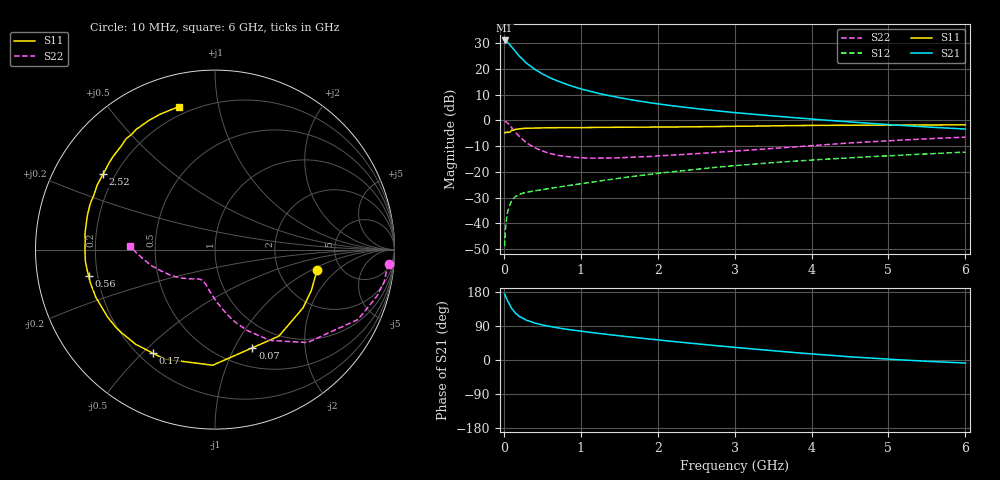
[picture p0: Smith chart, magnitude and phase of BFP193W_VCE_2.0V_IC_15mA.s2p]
! Infineon Technologies  Discrete & RF Semiconductors
! BFP193W
! VCE = 2.0 V,  IC =  15 mA
! Common Emitter S-Parameters:  Jan 2016
# GHz  S  MA  R  50
!  f  S11  S21  S12  S22
! GHz  MAG  ANG  MAG  ANG  MAG  ANG  MAG  ANG
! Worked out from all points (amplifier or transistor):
!   210 points, 10 MHz to 6 GHz, reference 50 ohm
!   highest |S21| = 31.1 dB at 10 MHz (marker M1)
!   |S21| within 3 dB of that: start of sweep to 116.1 MHz
!   unconditionally stable (mu >= 1): 1.031 GHz to 4.236 GHz
!   at 185 MHz: K = 0.28, MSG = 27.3 dB, |S12| = -29.0 dB
!   at 1.52 GHz: K = 1.11, MAG = 13.5 dB, |S12| = -22.4 dB
!   at 6 GHz: K = 0.93, MSG = 4.5 dB, |S12| = -12.3 dB
!   S11 on the Smith chart (normalised r, x): 10 MHz: 3.34, -1.14; 70 MHz: 0.71, -1.18; 170 MHz: 0.26, -0.54; 560 MHz: 0.16, -0.10; 2.52 GHz: 0.15, +0.30; 6 GHz: 0.16, +0.77
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0.01  0.5801 -11.3  35.8 174.0  0.0036 84.7  0.9699 -4.6
0.02  0.583 -22.9  35.58 169.5  0.0073 80.7  0.9588 -10.9
0.03  0.5882 -33.5  35.03 164.6  0.0107 78.0  0.9385 -16.1
0.05  0.5993 -53.6  33.08 155.0  0.0168 69.5  0.8871 -26.0
0.07  0.5855 -69.1  30.35 148.5  0.0208 61.1  0.8142 -32.7
0.1  0.6443 -91.1  27.18 136.5  0.0273 53.4  0.7309 -45.1
0.15  0.672 -114.8  21.87 123.6  0.0332 44.7  0.5922 -58.7
0.17  0.6728 -120.9  20.2 120.6  0.0344 42.6  0.5496 -61.9
0.2  0.6881 -129.9  17.83 115.1  0.0362 39.8  0.4898 -67.8
0.24  0.6972 -138.3  15.54 110.4  0.0382 37.5  0.4323 -73.1
0.3  0.7065 -147.8  12.76 104.4  0.0403 35.4  0.3624 -79.9
0.4  0.715 -158.1  9.855 97.5  0.0428 34.9  0.2948 -87.8
0.56  0.7196 -168.3  7.233 90.0  0.0466 37.1  0.2379 -96.4
0.8  0.7245 -178.2  5.097 81.6  0.0532 40.6  0.1994 -105.1
1.02  0.7255 175.6  4.026 75.7  0.0594 43.9  0.1876 -111.1
1.4  0.7342 166.7  2.964 66.2  0.0718 47.7  0.1863 -118.2
2.02  0.7417 154.5  2.079 52.7  0.0942 50.2  0.2049 -127.0
2.52  0.7518 146.0  1.682 42.5  0.1133 50.1  0.2268 -134.6
3.1  0.77 136.5  1.376 31.7  0.1358 48.2  0.2592 -143.8
4.1  0.8015 122.1  1.034 14.5  0.1735 43.2  0.3309 -160.0
5.1  0.814 111.4  0.81 1.0  0.2092 37.4  0.4104 -173.7
6  0.8212 104.1  0.68 -8.0  0.2423 32.4  0.4737 177.5
